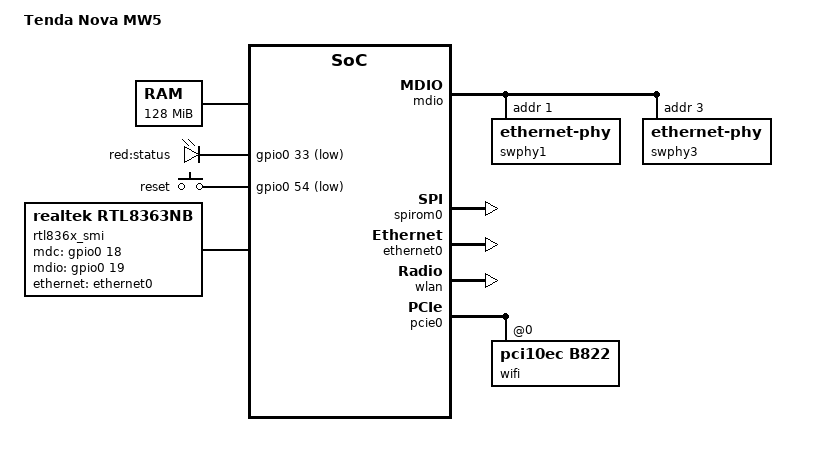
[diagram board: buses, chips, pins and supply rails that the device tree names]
// SPDX-License-Identifier: GPL-2.0-or-later OR MIT
/*
 * Tenda Nova MW5
 *
 * Reconstructed from the running Linux 3.10.90 vendor system and a verified
 * byte-for-byte 8 MiB SPI-NOR dump.  The external switch uses the rtl8367c
 * SDK family.  The observed copper ports are physical ports 1 (LAN) and 3
 * (WAN); the CPU path is EXT0 / physical port 6.
 */

#include <dt-bindings/gpio/gpio.h>
#include <dt-bindings/input/input.h>

#include "rtl8197f.dtsi"

/ {
	compatible = "tenda,nova-mw5", "realtek,rtl8197fs", "realtek,rtl8197f-soc";
	model = "Tenda Nova MW5";

	aliases {
		serial0 = &uart0;
	};

	chosen {
		bootargs = "console=ttyS0,115200n8 lpj=5000000 rootfstype=squashfs,jffs2 clk_ignore_unused";
		stdout-path = "serial0:115200n8";
	};

	memory@0 {
		device_type = "memory";
		reg = <0x00000000 0x08000000>;
	};

	/* OEM /etc_ro/gpio_conf assigns gpio_index 0 (red status LED) to
	 * GPIO33 and gpio_index 5 (reset key) to GPIO54.  Both functions are
	 * active-low on the vendor gpio controller.
	 */
	leds {
		compatible = "gpio-leds";
		status = "okay";

		led_status: status {
			label = "red:status";
			gpios = <&gpio0 33 GPIO_ACTIVE_LOW>;
			default-state = "keep";
		};
	};

	keys {
		compatible = "gpio-keys";
		status = "okay";

		reset {
			label = "reset";
			gpios = <&gpio0 54 GPIO_ACTIVE_LOW>;
			linux,code = <KEY_RESTART>;
			debounce-interval = <60>;
		};
	};

	rtl836x_smi: switch {
		compatible = "realtek,rtl8363nb", "realtek,rtl8367c", "realtek,rtl8365mb";
		mdc-gpios = <&gpio0 18 GPIO_ACTIVE_HIGH>;  /* GPIO C2 */
		mdio-gpios = <&gpio0 19 GPIO_ACTIVE_HIGH>; /* GPIO C3 */
		realtek,rtl8197f-mw5-oem-init;
		realtek,mw5-cpu-cascade;
		realtek,disable-leds;
		status = "okay";

		ports {
			#address-cells = <1>;
			#size-cells = <0>;

			/* Runtime PVID/link observations identify physical 1 as LAN and
			 * physical 3 as WAN.  Other copper indices are not bonded on the
			 * 2-port MW5 switch package and remain absent from DSA.
			 */
			port@1 {
				reg = <1>;
				label = "lan";
				phy-handle = <&swphy1>;
			};

			port@3 {
				reg = <3>;
				label = "wan";
				phy-handle = <&swphy3>;
			};

			port@6 {
				reg = <6>;
				label = "cpu";
				ethernet = <&ethernet0>;
				phy-mode = "rgmii";
				tx-internal-delay-ps = <0>;
				rx-internal-delay-ps = <1500>;

				fixed-link {
					speed = <1000>;
					full-duplex;
					pause;
				};
			};
		};

		mdio {
			compatible = "realtek,smi-mdio";
			#address-cells = <1>;
			#size-cells = <0>;

			swphy1: ethernet-phy@1 {
				reg = <1>;
				eee-broken-100tx;
				eee-broken-1000t;
			};

			swphy3: ethernet-phy@3 {
				reg = <3>;
				eee-broken-100tx;
				eee-broken-1000t;
			};
		};
	};
};

&gpio0 {
	/delete-property/ interrupt-controller;
	/delete-property/ #interrupt-cells;
	/delete-property/ interrupt-parent;
	/delete-property/ interrupts;
	status = "okay";
};

&uart0 {
	/* RTL8197FS uses byte-wide 16550 registers at four-byte spacing. The
	 * normal receive/transmit data register is the vendor RBR/THR alias at
	 * +0x24, while DLL remains at +0x00 when DLAB is set. The OEM BSP routes
	 * UART0 through ICTL input 9 (IRR value 2 -> output-index 1). Keep the
	 * interrupt active so long TTL paste bursts are drained from the 16-byte
	 * FIFO instead of relying on the Linux polling fallback.
	 */
	reg-io-width = <1>;
	fifo-size = <16>;
	realtek,rx-alias-offset = <0x24>;
	realtek,tx-alias-offset = <0x24>;
	interrupt-parent = <&intc>;
	interrupts = <9 1>;
};

&spi0 {
	status = "disabled";
};

&spirom0 {
	status = "okay";
	reg = <0x10000000 0x00800000>;
	erase-size = <0x10000>;
	/* MW5 auto-map byte addresses already match the OEM flash coordinate
	 * system.  Subtracting one corrupts cr6c/hsqs reads through MTD.
	 */
	realtek,read-shift = <0>;

	partitions {
		compatible = "fixed-partitions";
		#address-cells = <1>;
		#size-cells = <1>;

		partition@0 {
			label = "boot";
			reg = <0x000000 0x020000>;
			read-only;
		};

		factory: partition@20000 {
			compatible = "nvmem-cells";
			label = "factory";
			reg = <0x020000 0x010000>;
			read-only;
			#address-cells = <1>;
			#size-cells = <1>;

			/* Tenda NUL-separated KEY=value store.  The driver parses the
			 * selected WLAN0/WLAN1 keys into the existing eFuse shadow map. */
			mw5_factory: factory@0 {
				reg = <0x0000 0x10000>;
			};
		};

		firmware: partition@30000 {
			/* OpenWrt mtdsplit selects firmware parsers by the partition
			 * name.  A compatible property here suppresses that path in
			 * mtd_partition_split(), so keep this node name-based.
			 */
			label = "firmware";
			reg = <0x030000 0x590000>;
		};

		partition@5c0000 {
			label = "cfm";
			reg = <0x5c0000 0x010000>;
			read-only;
		};

		partition@5d0000 {
			label = "cfm_backup";
			reg = <0x5d0000 0x010000>;
			read-only;
		};

		partition@5e0000 {
			label = "log";
			reg = <0x5e0000 0x210000>;
			read-only;
		};

		partition@7f0000 {
			label = "env";
			reg = <0x7f0000 0x010000>;
			read-only;
		};
	};
};

&ethdiag0 {
	status = "disabled";
};

&ethernet0 {
	/* v44.65.15: provide the raw MW5 factory store to rtknet so it can parse
	 * HW_NIC0_ADDR before its first ndo_open/RTL865x table seed. */
	nvmem-cells = <&mw5_factory>;
	nvmem-cell-names = "factory";

	/* The RTL8363/RTL8367 CPU port 6 is the switch-side endpoint.  The
	 * RTL8197FS-side endpoint is physical P0/RGMII, exactly as in the SDK
	 * CONFIG_RTL_8367R_SUPPORT path.  DMA descriptors must therefore target
	 * P0 directly rather than rtl865x extension-port bit 6.
	 */
	realtek,tx-port-mask = <0x1>;
	realtek,tx-dp-ext = <0x0>;
	realtek,tx-extspa = <0x0>;
	/* RTL8197FS non-VG SDK: six dwords / 24-byte CPU DMA descriptors. */
	realtek,descriptor-dwords = <6>;
	/* V212 /proc/rtl865x ring dump: OEM ring0 is RX=900 and TX=768.
	 * Keep the smaller auxiliary OEM rings out of this first reconstruction;
	 * the Linux master currently exposes one CPU DMA ring in each direction.
	 */
	realtek,rx-ring-size = <900>;
	realtek,tx-ring-size = <768>;
	/* OEM descriptor topology: LAN VID9 -> P1, WAN VID8 -> P3. */
	realtek,lan-vid = <9>;
	realtek,wan-vid = <8>;
	realtek,p0-cpu-tag-pass-through;
	realtek,legacy-rd05-sdk-pipeline;
	realtek,rx-poll-fallback;
	/* v44.62.8: 10 ms is only the pre-IRQ bring-up interval.  After the first
	 * proven RX interrupt the driver automatically backs this off to a 1-second
	 * lost-IRQ watchdog, avoiding a permanent 100-Hz timer on the single CPU.
	 */
	realtek,rx-poll-ms = <10>;
	realtek,sdk-cpuicr1-init;
	realtek,sdk-swcore-init;
	realtek,sdk-crc-lengths;
	realtek,sdk-trxrdy;
	status = "okay";
};

/*
 * v44.28 WLAN IRQ correction.
 *
 * The OEM IRR table routes exactly one ICTL input to CPU5 (input 21) and one
 * to CPU6 (input 29).  These are the PCIe/RTL8812BRH and integrated RTL8197FS
 * WLAN sources.  The vendor wlan_device[] values 5/6 describe the final CPU
 * routing line, not a bypass around the RTL8197F ICTL.  Describing them as
 * direct cpuintc IRQs made request_irq() succeed while leaving the ICTL GIMR
 * sources masked, which is exactly the v44.26.1 irq_count=0 failure.
 *
 * Keep all five ICTL parents from rtl8197f.dtsi and bind the WLAN sources to
 * their actual ICTL inputs/output domains: input21 -> CPU5 (output-index 4),
 * input29 -> CPU6 (output-index 5).  Patch 316 also selects the RTL8197F
 * BSP's linear IRR-bank layout.  The inherited RTL83xx reverse-bank formula
 * was why v44.27 could request the child IRQs but never enter either ISR.
 */
&wlan {
	/* Integrated RTL8197FS 2.4 GHz: ICTL input29 routed to OEM CPU IRQ6. */
	interrupt-parent = <&intc>;
	interrupts = <29 5>;
	compatible = "realtek,rtl8197fs-wlan", "realtek,rtl8197f-wmac";
	realtek,radio-index = <1>;
	realtek,rfe-type = <5>;
	realtek,mac-address-increment = <1>;
	nvmem-cells = <&mw5_factory>;
	nvmem-cell-names = "factory";
	status = "okay";
};

&pcie0 {
	/* RTL8812BRH/PCIe interrupt source is ICTL input21 -> OEM CPU IRQ5. */
	interrupt-parent = <&intc>;
	interrupts = <21 4>;

	/*
	 * The recovered MW5 OEM init for the physical RTL8812BRH programs BAR2 to 0x19000004.
	 * Keep PCI child bus addresses identical to the RTL8197F outbound CPU
	 * apertures so generic Linux resource assignment preserves that BAR.
	 */
	ranges = <0x01000000 0 0x18c00000 0x00c00000 0 0x00200000>,
		 <0x02000000 0 0x19000000 0x01000000 0 0x01000000>;

	/* Stock boot discovers 10ec:b822 at bus 0 / slot 0.  Attaching the
	 * factory NVMEM reference to the PCI child makes the same board data
	 * available through pdev->dev to the rtl8822b_pci compatibility backend. */
	status = "okay";

	wifi@0,0 {
		compatible = "pci10ec,b822";
		reg = <0x00000000 0 0 0 0>;
		realtek,radio-index = <0>;
		realtek,rfe-type = <6>;
		realtek,mac-address-increment = <4>;
		nvmem-cells = <&mw5_factory>;
		nvmem-cell-names = "factory";
	};
};
